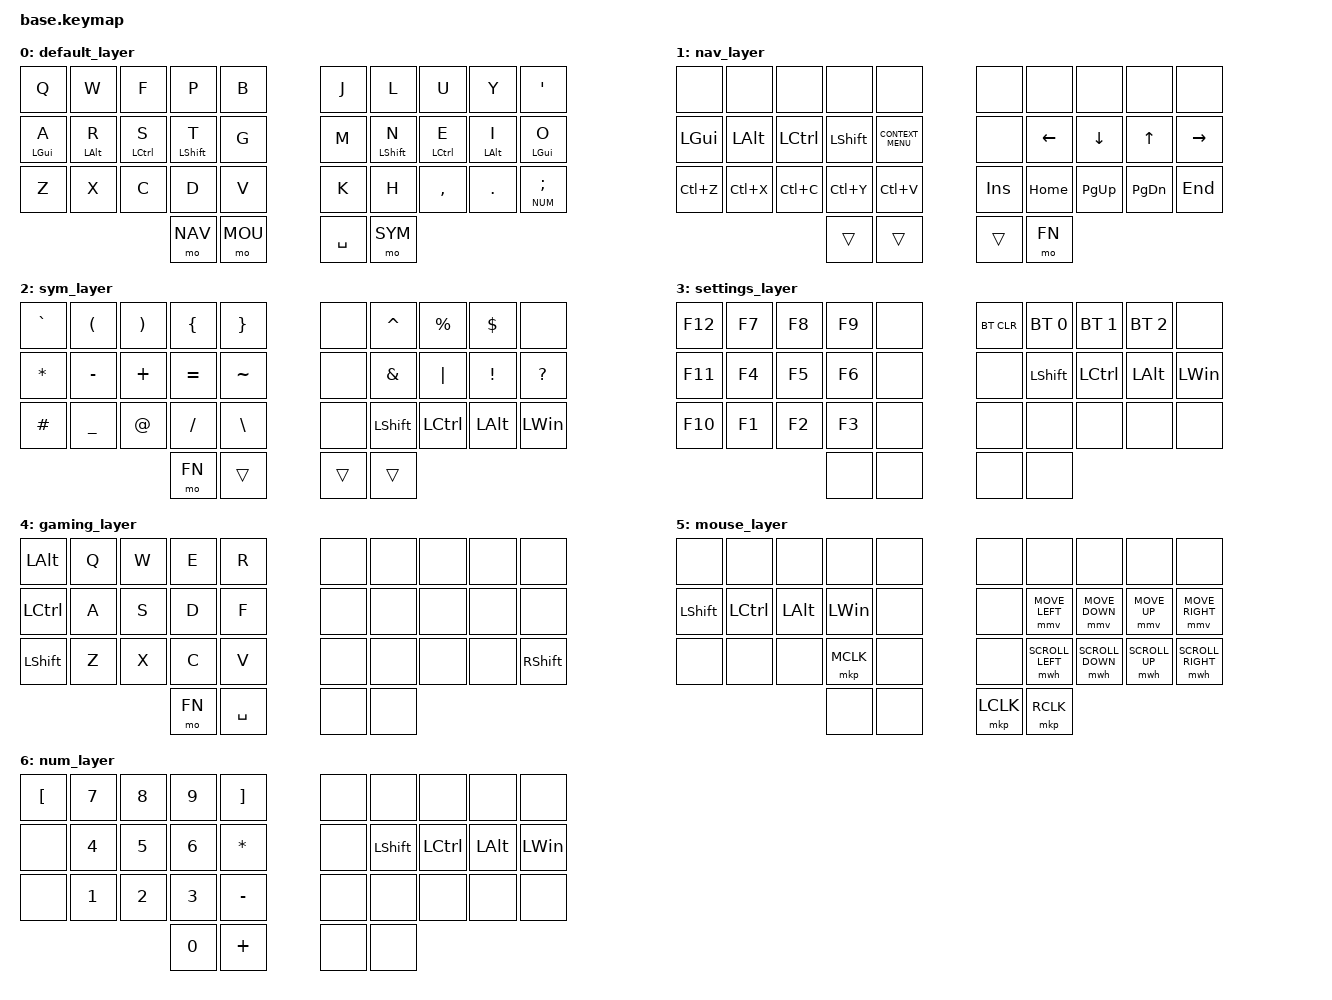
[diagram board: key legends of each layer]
// TODO: t g b support for gaming layer

// TODO: uk layout toggle for Adam?
/* 
        tilde is ¬
        hashtag is £
        backslash is #
        pipe is ~
        at is "
*/

// finish alt tab

#include <behaviors.dtsi>
#include <dt-bindings/zmk/keys.h>
#include <dt-bindings/zmk/bt.h>
#include <dt-bindings/zmk/mouse.h>
#include "../zmk-nodefree-config/helper.h"

#define DEF 0
#define NAV 1
#define SYM 2
#define FN 3
#define GAME 4
#define MOU 5
#define NUM 6

#include "combos.dtsi"  // must be sourced after layer-shortcuts
#include "mouse.dtsi"
#include "xtr_defaults.h"


/* Settings */

&mt {
    flavor = "tap-preferred";
    tapping-term-ms = <220>;
    quick-tap-ms = <220>;              // repeat on tap-into-hold
    hold-trigger-key-positions = <0>;  // tap on interrupt
};

#define QUICK_TAP_MS 175

&sk {  // sticky-key config
    release-after-ms = <600>;  // release after 0.6s
    quick-release;             // no double capitalization when rolling keys
};

&sl {  // sticky-layer config
    ignore-modifiers;
};

&lt {  // layer-tap config
    flavor = "balanced";
    tapping-term-ms = <200>;
    quick-tap-ms = <QUICK_TAP_MS>;
};

&caps_word {  // mods deactivate caps-word, requires PR #1441
    /delete-property/ ignore-modifiers;
};

&num_word {  // num-word, requires PR #1441
    layers = <NUM>;
};


/* Homerow mods */

#define KEYS_L LT0 LT1 LT2 LT3 LT4 LM0 LM1 LM2 LM3 LM4 LB0 LB1 LB2 LB3 LB4  // left-hand keys
#define KEYS_R RT0 RT1 RT2 RT3 RT4 RM0 RM1 RM2 RM3 RM4 RB0 RB1 RB2 RB3 RB4  // right-hand keys
#define THUMBS LH1 LH0 RH0 RH1                                      // thumb keys

ZMK_BEHAVIOR(hml, hold_tap,  // left-hand HRMs
    flavor = "balanced";
    tapping-term-ms = <280>;
    quick-tap-ms = <QUICK_TAP_MS>;
    global-quick-tap-ms = <150>;        // requires PR #1387
    bindings = <&kp>, <&kp>;
    hold-trigger-key-positions = <KEYS_R THUMBS>;
    hold-trigger-on-release;            // requires PR #1423
)

ZMK_BEHAVIOR(hmr, hold_tap,  // right-hand HRMs
    flavor = "balanced";
    tapping-term-ms = <280>;
    quick-tap-ms = <QUICK_TAP_MS>;
    global-quick-tap-ms = <150>;        // requires PR #1387
    bindings = <&kp>, <&kp>;
    hold-trigger-key-positions = <KEYS_L THUMBS>;
    hold-trigger-on-release;            // requires PR #1423
)

// ------------------------------------------------------------------------------------------------------------------------------------

ZMK_LAYER(default_layer,
     // ╭─────────────┬─────────────┬─────────────┬─────────────┬─────────────╮   ╭─────────────┬─────────────┬─────────────┬─────────────┬─────────────╮
          &kp Q         &kp W         &kp F         &kp P        &kp B             &kp J         &kp L         &kp U         &kp Y         &kp APOS
     // ├─────────────┼─────────────┼─────────────┼─────────────┼─────────────┤   ├─────────────┼─────────────┼─────────────┼─────────────┼─────────────┤
          &hml LGUI A  &hml LALT R   &hml LCTL S   &hml LSHIFT T &kp G             &kp M         &hmr LSHIFT N &hmr LCTL E   &hmr LALT I   &hmr LGUI O
     // ├─────────────┼─────────────┼─────────────┼─────────────┼─────────────┤   ├─────────────┼─────────────┼─────────────┼─────────────┼─────────────┤
          &kp Z        &kp X         &kp C         &kp D         &kp V             &kp K         &kp H         &kp COMMA     &kp DOT       &lt NUM SEMI
     // ├─────────────┼─────────────┼─────────────┼─────────────┼─────────────┤   ├─────────────┼─────────────┼─────────────┼─────────────┼─────────────┤
                                                   &mo NAV       &mo MOU           &kp SPACE     &mo SYM    
     //                                           ╰───────────────────────────╯   ╰───────────────────────────╯
)


ZMK_LAYER(nav_layer,   
     // ╭─────────────┬─────────────┬─────────────┬─────────────┬─────────────╮   ╭─────────────┬─────────────┬─────────────┬─────────────┬─────────────╮
         &none         &none        &none         &none         &none             &none         &none         &none         &none         &none
     // ├─────────────┼─────────────┼─────────────┼─────────────┼─────────────┤   ├─────────────┼─────────────┼─────────────┼─────────────┼─────────────┤
         &kp LGUI      &kp LALT      &kp LCTL      &kp LSHIFT    &kp K_CONTEXT_MENU &none        &kp LEFT      &kp DOWN      &kp UP        &kp RIGHT
     // ├─────────────┼─────────────┼─────────────┼─────────────┼─────────────┤   ├─────────────┼─────────────┼─────────────┼─────────────┼─────────────┤
         &kp LC(Z)     &kp LC(X)     &kp LC(C)     &kp LC(Y)     &kp LC(V)         &kp INSERT    &kp HOME      &kp PG_UP     &kp PG_DN     &kp END
     // ├─────────────┼─────────────┼─────────────┼─────────────┼─────────────┤   ├─────────────┼─────────────┼─────────────┼─────────────┼─────────────┤
                                                   &trans        &trans            &trans        &mo FN
     //                                           ╰───────────────────────────╯   ╰───────────────────────────╯

)

ZMK_LAYER(sym_layer,
     // ╭─────────────┬─────────────┬─────────────┬─────────────┬─────────────╮   ╭─────────────┬─────────────┬─────────────┬─────────────┬─────────────╮
         &kp GRAVE     &kp LPAR      &kp RPAR      &kp LBRC      &kp RBRC          &none         &kp CARET     &kp PERCENT   &kp DOLLAR    &none
     // ├─────────────┼─────────────┼─────────────┼─────────────┼─────────────┤   ├─────────────┼─────────────┼─────────────┼─────────────┼─────────────┤
         &kp STAR      &kp MINUS     &kp PLUS      &kp EQUAL     &kp TILDE         &none         &kp AMPERSAND &kp PIPE      &kp EXCLAMATION &kp QUESTION
     // ├─────────────┼─────────────┼─────────────┼─────────────┼─────────────┤   ├─────────────┼─────────────┼─────────────┼─────────────┼─────────────┤
         &kp HASH      &kp UNDER     &kp AT        &kp FSLH      &kp BSLH          &none         &kp LSHIFT    &kp LCTRL     &kp LALT      &kp LWIN
     // ├─────────────┼─────────────┼─────────────┼─────────────┼─────────────┤   ├─────────────┼─────────────┼─────────────┼─────────────┼─────────────┤
                                                  &mo FN        &trans            &trans        &trans
     //                                           ╰───────────────────────────╯   ╰───────────────────────────╯
)

ZMK_LAYER(settings_layer,
     // ╭─────────────┬─────────────┬─────────────┬─────────────┬─────────────╮   ╭─────────────┬─────────────┬─────────────┬─────────────┬─────────────╮
         &kp F12       &kp F7        &kp F8        &kp F9        &none             &bt BT_CLR    &bt BT_SEL 0  &bt BT_SEL 1  &bt BT_SEL 2  &none
     // ├─────────────┼─────────────┼─────────────┼─────────────┼─────────────┤   ├─────────────┼─────────────┼─────────────┼─────────────┼─────────────┤
         &kp F11       &kp F4        &kp F5        &kp F6        &none             &none         &kp LSHIFT    &kp LCTRL     &kp LALT      &kp LWIN
     // ├─────────────┼─────────────┼─────────────┼─────────────┼─────────────┤   ├─────────────┼─────────────┼─────────────┼─────────────┼─────────────┤
         &kp F10       &kp F1        &kp F2        &kp F3        &none             &none         &none         &none         &none         &none
     // ├─────────────┼─────────────┼─────────────┼─────────────┼─────────────┤   ├─────────────┼─────────────┼─────────────┼─────────────┼─────────────┤
                                                   &none         &none             &none         &none
     //                                           ╰───────────────────────────╯   ╰───────────────────────────╯
)

ZMK_LAYER(gaming_layer,
     // ╭─────────────┬─────────────┬─────────────┬─────────────┬─────────────╮   ╭─────────────┬─────────────┬─────────────┬─────────────┬─────────────╮
         &kp LALT      &kp Q         &kp W         &kp E         &kp R             &none         &none         &none         &none         &none
     // ├─────────────┼─────────────┼─────────────┼─────────────┼─────────────┤   ├─────────────┼─────────────┼─────────────┼─────────────┼─────────────┤
         &kp LCTRL     &kp A         &kp S         &kp D         &kp F             &none         &none         &none         &none         &none
     // ├─────────────┼─────────────┼─────────────┼─────────────┼─────────────┤   ├─────────────┼─────────────┼─────────────┼─────────────┼─────────────┤
         &kp LSHIFT    &kp Z         &kp X         &kp C         &kp V             &none         &none         &none         &none         &kp RSHIFT
     // ├─────────────┼─────────────┼─────────────┼─────────────┼─────────────┤   ├─────────────┼─────────────┼─────────────┼─────────────┼─────────────┤
                                                   &mo FN        &kp SPACE         &none         &none
     //                                           ╰───────────────────────────╯   ╰───────────────────────────╯

)

ZMK_LAYER(mouse_layer, 
     // ╭─────────────┬─────────────┬─────────────┬─────────────┬─────────────╮   ╭─────────────┬─────────────┬─────────────┬─────────────┬─────────────╮
         &none        &none         &none         &none         &none             &none         &none         &none         &none         &none
     // ├─────────────┼─────────────┼─────────────┼─────────────┼─────────────┤   ├─────────────┼─────────────┼─────────────┼─────────────┼─────────────┤
         &kp LSHIFT    &kp LCTRL     &kp LALT      &kp LWIN      &none             &none     &mmv MOVE_LEFT &mmv MOVE_DOWN &mmv MOVE_UP &mmv MOVE_RIGHT
     // ├─────────────┼─────────────┼─────────────┼─────────────┼─────────────┤   ├─────────────┼─────────────┼─────────────┼─────────────┼─────────────┤
         &none         &none         &none         &mkp MCLK     &none             &none     &mwh SCROLL_LEFT &mwh SCROLL_DOWN &mwh SCROLL_UP &mwh SCROLL_RIGHT
     // ├─────────────┼─────────────┼─────────────┼─────────────┼─────────────┤   ├─────────────┼─────────────┼─────────────┼─────────────┼─────────────┤
                                                   &none         &none             &mkp LCLK     &mkp RCLK
     //                                           ╰───────────────────────────╯   ╰───────────────────────────╯

)

ZMK_LAYER(num_layer,
     // ╭─────────────┬─────────────┬─────────────┬─────────────┬─────────────╮   ╭─────────────┬─────────────┬─────────────┬─────────────┬─────────────╮
         &kp LEFT_BRACKET &kp N7     &kp N8        &kp N9        &kp RIGHT_BRACKET &none         &none         &none         &none         &none
     // ├─────────────┼─────────────┼─────────────┼─────────────┼─────────────┤   ├─────────────┼─────────────┼─────────────┼─────────────┼─────────────┤
         &none         &kp N4        &kp N5        &kp N6        &kp STAR          &none         &kp LSHIFT    &kp LCTRL     &kp LALT      &kp LWIN
     // ├─────────────┼─────────────┼─────────────┼─────────────┼─────────────┤   ├─────────────┼─────────────┼─────────────┼─────────────┼─────────────┤
         &none         &kp N1        &kp N2        &kp N3        &kp MINUS         &none         &none         &none         &none         &none
     // ├─────────────┼─────────────┼─────────────┼─────────────┼─────────────┤   ├─────────────┼─────────────┼─────────────┼─────────────┼─────────────┤
                                                   &kp N0        &kp PLUS          &none         &none
     //                                           ╰───────────────────────────╯   ╰───────────────────────────╯

)
